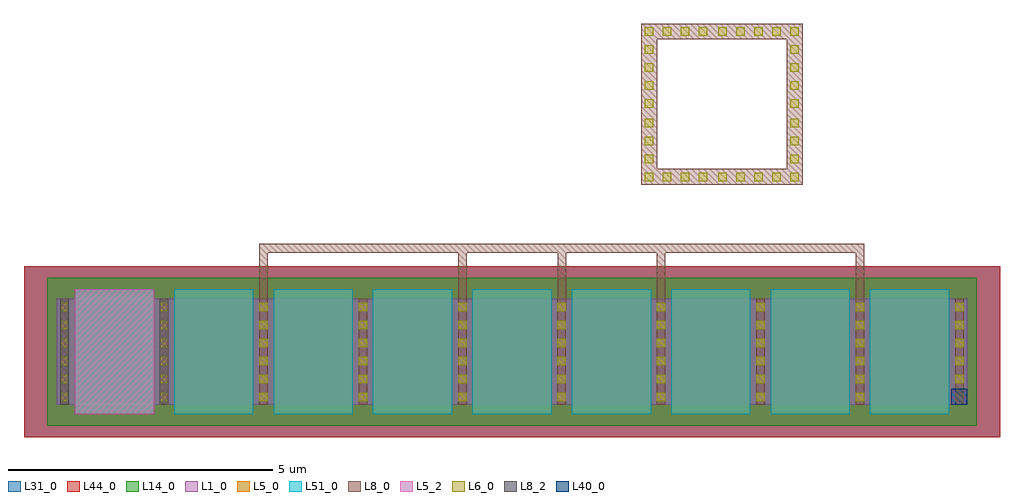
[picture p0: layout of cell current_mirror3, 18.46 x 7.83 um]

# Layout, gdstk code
import gdstk
lib = gdstk.Library(unit=1e-6, precision=5e-09)
def R(c, l, rs):  # rectangles x0, y0, x1, y1
    for r in rs: c.add(gdstk.rectangle(r[:2], r[2:], *l))
def A(c, l, x, y, w, h, nx, ny, dx, dy):  # array of equal rectangles
    R(c, l, [(x+i*dx, y+j*dy, x+i*dx+w, y+j*dy+h) for i in range(nx) for j in range(ny)])
L1_0 = (1, 0)
L5_0 = (5, 0)
L5_2 = (5, 2)
L6_0 = (6, 0)
L8_0 = (8, 0)
L8_2 = (8, 2)
L14_0 = (14, 0)
L31_0 = (31, 0)
L40_0 = (40, 0)
L44_0 = (44, 0)
L51_0 = (51, 0)

pmoshv_4 = lib.new_cell('pmosHV$4')
A(pmoshv_4, L1_0, 0, 0, 0.3, 0.3, 10, 1, 1.88, 0)
R(pmoshv_4, L1_0, [(0,0,17.22,2)])
A(pmoshv_4, L5_0, 0.34, -0.18, 1.5, 2.36, 9, 1, 1.88, 0)
R(pmoshv_4, L5_2, [(0.34,-0.18,1.84,2.18)])
A(pmoshv_4, L6_0, 0.07, 0.07, 0.16, 0.16, 10, 6, 1.88, 0.34)
A(pmoshv_4, L8_0, 0.07, 0, 0.16, 2, 10, 1, 1.88, 0)
R(pmoshv_4, L8_2, [(0.07,0,0.23,2), (1.95,0,2.11,2)])
R(pmoshv_4, L14_0, [(-0.18,-0.4,17.4,2.4)])
R(pmoshv_4, L31_0, [(-0.62,-0.62,17.84,2.62)])
R(pmoshv_4, L40_0, [(16.92,0,17.22,0.3)])
R(pmoshv_4, L44_0, [(-0.62,-0.62,17.84,2.62)])
A(pmoshv_4, L51_0, 0.34, -0.18, 1.5, 2.36, 9, 1, 1.88, 0)
pmoshv_4.add(gdstk.Label('pmosHV', (1.09,1), layer=63, texttype=0))
pmoshv_4.add(gdstk.Label('pmos', (1.09,1), layer=51, texttype=0))
pmoshv_4.add(gdstk.Label('pmos', (2.97,1), layer=51, texttype=0))
pmoshv_4.add(gdstk.Label('pmos', (4.85,1), layer=51, texttype=0))
pmoshv_4.add(gdstk.Label('pmos', (6.73,1), layer=51, texttype=0))
pmoshv_4.add(gdstk.Label('pmos', (8.61,1), layer=51, texttype=0))
pmoshv_4.add(gdstk.Label('pmos', (10.49,1), layer=51, texttype=0))
pmoshv_4.add(gdstk.Label('pmos', (12.37,1), layer=51, texttype=0))
pmoshv_4.add(gdstk.Label('pmos', (14.25,1), layer=51, texttype=0))
pmoshv_4.add(gdstk.Label('pmos', (16.13,1), layer=51, texttype=0))

guard_ring_9 = lib.new_cell('guard_ring$9')
A(guard_ring_9, L6_0, -1.455, -1.455, 0.16, 0.16, 4, 2, 0.34, 2.75)
A(guard_ring_9, L6_0, -0.065, -1.455, 0.16, 0.16, 5, 2, 0.34, 2.75)
A(guard_ring_9, L6_0, -1.455, -1.115, 0.16, 0.16, 1, 3, 0, 0.34)
A(guard_ring_9, L6_0, 1.295, -1.115, 0.16, 0.16, 1, 3, 0, 0.34)
A(guard_ring_9, L6_0, -1.455, -0.065, 0.16, 0.16, 1, 4, 0, 0.34)
A(guard_ring_9, L6_0, 1.295, -0.065, 0.16, 0.16, 1, 4, 0, 0.34)
R(guard_ring_9, L8_0, [(-1.525,-1.525,1.525,-1.225), (-1.525,-1.225,-1.225,1.225), (1.225,-1.225,1.525,1.225), (-1.525,1.225,1.525,1.525)])

current_mirror3 = lib.new_cell('current_mirror3')
R(current_mirror3, L8_0, [(10.95,2.98,11.11,4.25), (3.43,2.985,3.59,4.255), (7.19,2.985,7.35,4.255), (14.71,2.985,14.87,4.255), (9.075,2.99,9.235,4.26), (3.43,4.085,14.87,4.255)])
current_mirror3.add(gdstk.Reference(pmoshv_4, (-0.4,1.215)))
current_mirror3.add(gdstk.Reference(guard_ring_9, (12.18,6.9)))

lib.write_gds('current_mirror3.gds')
